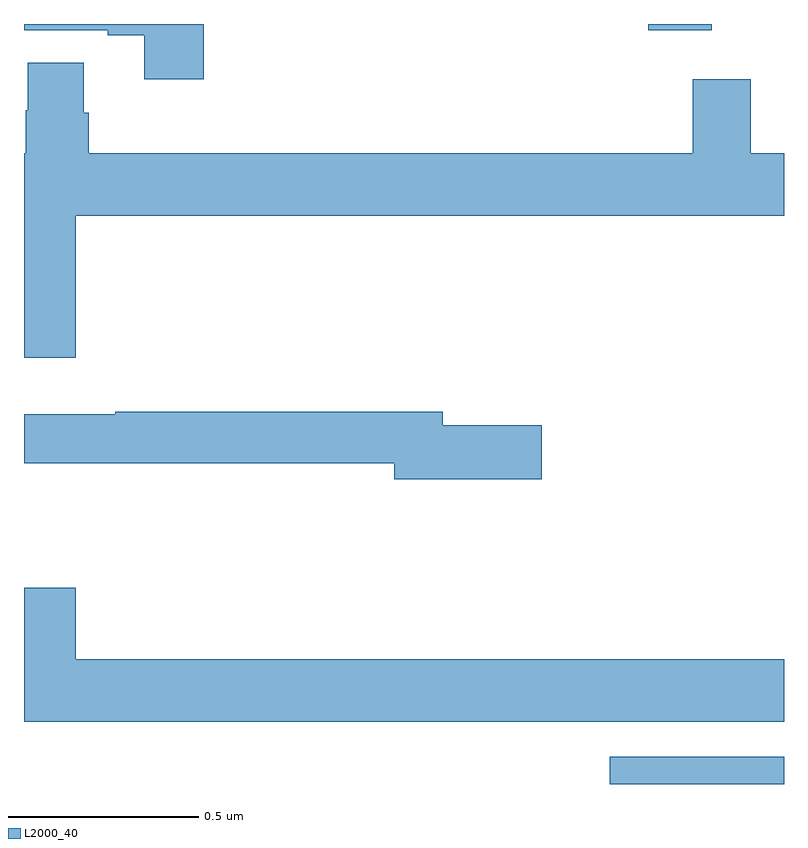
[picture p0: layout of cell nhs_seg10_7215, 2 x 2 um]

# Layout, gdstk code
import gdstk
lib = gdstk.Library(unit=1e-6, precision=1e-09)
def R(c, l, rs):  # rectangles x0, y0, x1, y1
    for r in rs: c.add(gdstk.rectangle(r[:2], r[2:], *l))
def P(c, l, *ps):  # polygons
    for p in ps: c.add(gdstk.Polygon(p, *l))
L2000_40 = (2000, 40)

nhs_seg10_7215 = lib.new_cell('nhs_seg10_7215')
R(nhs_seg10_7215, L2000_40, [(202.542,1285.5,203,1285.572), (202.643,1287.483,202.81,1287.5)])
P(nhs_seg10_7215, L2000_40, [(201.473,1287.5),(201,1287.5),(201,1287.483),(201.221,1287.483),(201.221,1287.471),(201.317,1287.471),(201.317,1287.354),(201.473,1287.354)],
  [(201.136,1286.996),(203,1286.996),(203,1287.16),(202.912,1287.16),(202.912,1287.355),(202.76,1287.355),(202.76,1287.16),(201.17,1287.16),(201.17,1287.266),(201.157,1287.266),(201.157,1287.398),(201.01,1287.398),(201.01,1287.273),(201.005,1287.273),(201.005,1287.16),(201,1287.16),(201,1286.622),(201.136,1286.622)],
  [(202.363,1286.444),(202.102,1286.444),(202.102,1286.48),(201.24,1286.48),(201.24,1286.473),(201,1286.473),(201,1286.344),(201.974,1286.344),(201.974,1286.302),(202.363,1286.302)],
  [(203,1285.828),(201.136,1285.828),(201.136,1286.017),(201,1286.017),(201,1285.664),(203,1285.664)])

lib.write_gds('nhs_seg10_7215.gds')
